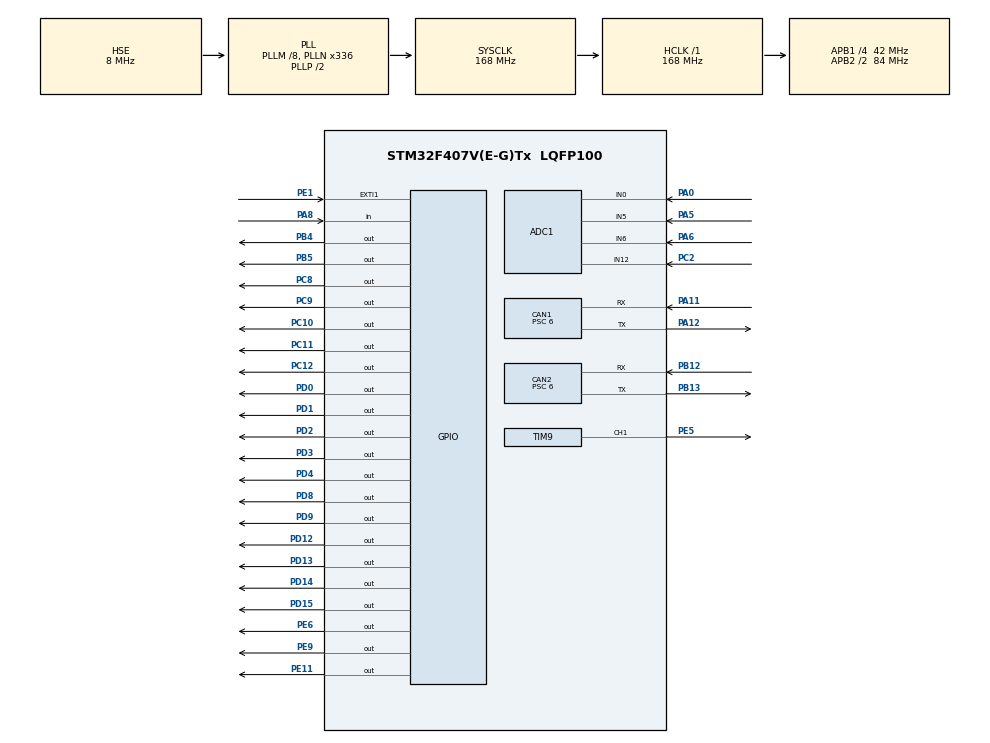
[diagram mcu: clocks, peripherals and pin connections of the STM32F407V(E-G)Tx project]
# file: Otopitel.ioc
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ADC1.Channel-0\#ChannelRegularConversion=ADC_CHANNEL_0
ADC1.Channel-1\#ChannelRegularConversion=ADC_CHANNEL_5
ADC1.Channel-2\#ChannelRegularConversion=ADC_CHANNEL_6
ADC1.Channel-3\#ChannelRegularConversion=ADC_CHANNEL_12
ADC1.ClockPrescaler=ADC_CLOCK_SYNC_PCLK_DIV6
ADC1.NbrOfConversion=4
ADC1.NbrOfConversionFlag=1
ADC1.Rank-0\#ChannelRegularConversion=1
ADC1.Rank-1\#ChannelRegularConversion=2
ADC1.Rank-2\#ChannelRegularConversion=3
ADC1.Rank-3\#ChannelRegularConversion=4
ADC1.SamplingTime-0\#ChannelRegularConversion=ADC_SAMPLETIME_56CYCLES
ADC1.SamplingTime-1\#ChannelRegularConversion=ADC_SAMPLETIME_56CYCLES
ADC1.SamplingTime-2\#ChannelRegularConversion=ADC_SAMPLETIME_56CYCLES
ADC1.SamplingTime-3\#ChannelRegularConversion=ADC_SAMPLETIME_56CYCLES
ADC1.master=1
CAN1.BS1=CAN_BS1_10TQ
CAN1.BS2=CAN_BS2_3TQ
CAN1.CalculateBaudRate=500000
CAN1.CalculateTimeBit=2000
CAN1.CalculateTimeQuantum=142.85714285714286
CAN1.Prescaler=6
CAN2.BS1=CAN_BS1_10TQ
CAN2.BS2=CAN_BS2_3TQ
CAN2.CalculateBaudRate=500000
CAN2.CalculateTimeBit=2000
CAN2.CalculateTimeQuantum=142.85714285714286
CAN2.Prescaler=6
Mcu.Family=STM32F4
Mcu.Name=STM32F407V(E-G)Tx
Mcu.Package=LQFP100
NVIC.CAN2_SCE_IRQn=true\:0\:0\:false\:false\:true\:true\:true\:true
NVIC.EXTI1_IRQn=true\:0\:0\:false\:false\:true\:true\:true\:true
NVIC.PriorityGroup=NVIC_PRIORITYGROUP_4
NVIC.TIM6_DAC_IRQn=true\:0\:0\:false\:false\:true\:true\:true\:true
PA0-WKUP.Signal=ADCx_IN0
PA11.Mode=CAN_Activate
PA11.Signal=CAN1_RX
PA12.Mode=CAN_Activate
PA12.Signal=CAN1_TX
PA13.Mode=Serial_Wire
PA13.Signal=SYS_JTMS-SWDIO
PA14.Mode=Serial_Wire
PA14.Signal=SYS_JTCK-SWCLK
PA5.Signal=ADCx_IN5
PA6.Signal=ADCx_IN6
PA8.GPIO_PuPd=GPIO_PULLUP
PA8.Signal=GPIO_Input
PB12.Mode=CAN_Activate
PB12.Signal=CAN2_RX
PB13.Mode=CAN_Activate
PB13.Signal=CAN2_TX
PB4.Signal=GPIO_Output
PB5.Signal=GPIO_Output
PC10.Signal=GPIO_Output
PC11.Signal=GPIO_Output
PC12.Signal=GPIO_Output
PC2.Signal=ADCx_IN12
PC8.Signal=GPIO_Output
PC9.Signal=GPIO_Output
PD0.Signal=GPIO_Output
PD1.Signal=GPIO_Output
PD12.Signal=GPIO_Output
PD13.Signal=GPIO_Output
PD14.Signal=GPIO_Output
PD15.Signal=GPIO_Output
PD2.Signal=GPIO_Output
PD3.Signal=GPIO_Output
PD4.Signal=GPIO_Output
PD8.Signal=GPIO_Output
PD9.Signal=GPIO_Output
PE1.Signal=GPXTI1
PE11.Signal=GPIO_Output
PE5.Signal=S_TIM9_CH1
PE6.Signal=GPIO_Output
PE9.Signal=GPIO_Output
PH0-OSC_IN.Mode=HSE-External-Oscillator
PH0-OSC_IN.Signal=RCC_OSC_IN
PH1-OSC_OUT.Mode=HSE-External-Oscillator
PH1-OSC_OUT.Signal=RCC_OSC_OUT
ProjectManager.HeapSize=0x200
ProjectManager.StackSize=0x400
ProjectManager.TargetToolchain=CMake
RCC.48MHZClocksFreq_Value=84000000
RCC.AHBFreq_Value=168000000
RCC.APB1CLKDivider=RCC_HCLK_DIV4
RCC.APB1Freq_Value=42000000
RCC.APB1TimFreq_Value=84000000
RCC.APB2CLKDivider=RCC_HCLK_DIV2
RCC.APB2Freq_Value=84000000
RCC.APB2TimFreq_Value=168000000
RCC.CortexFreq_Value=168000000
RCC.HCLKFreq_Value=168000000
RCC.HSE_VALUE=8000000
RCC.HSI_VALUE=16000000
RCC.LSE_VALUE=32768
RCC.PLLM=8
RCC.PLLN=336
RCC.PLLSourceVirtual=RCC_PLLSOURCE_HSE
RCC.SYSCLKFreq_VALUE=168000000
RCC.SYSCLKSource=RCC_SYSCLKSOURCE_PLLCLK
RCC.VCOOutputFreq_Value=336000000
SH.ADCx_IN0.0=ADC1_IN0,IN0
SH.ADCx_IN12.0=ADC1_IN12,IN12
SH.ADCx_IN5.0=ADC1_IN5,IN5
SH.ADCx_IN6.0=ADC1_IN6,IN6
SH.S_TIM9_CH1.0=TIM9_CH1,PWM Generation1 CH1
TIM6.Period=9
TIM6.Prescaler=8399
TIM9.AutoReloadPreload=TIM_AUTORELOAD_PRELOAD_ENABLE
TIM9.Channel-PWM\ Generation1\ CH1=TIM_CHANNEL_1
TIM9.Period=999
TIM9.Prescaler=167
TIM9.Pulse-PWM\ Generation1\ CH1=0
VP_TIM6_VS_ClockSourceINT.Mode=Enable_Timer
board=custom

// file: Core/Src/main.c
/* USER CODE BEGIN Header */
/**
 ******************************************************************************
 * @file           : main.c
 * @brief          : Main program body
 ******************************************************************************
 * @attention
 *
 * Copyright (c) 2026 STMicroelectronics.
 * All rights reserved.
 *
 * This software is licensed under terms that can be found in the LICENSE file
 * in the root directory of this software component.
 * If no LICENSE file comes with this software, it is provided AS-IS.
 *
 ******************************************************************************
 */
/* USER CODE END Header */
#include "main.h"

/* USER CODE BEGIN Includes */
#include "dacs_j1939.h"
#include "motor_control.h"
#include "stm32f4xx.h"
#include "stm32f4xx_hal.h"
#include "stm32f4xx_hal_gpio.h"
#include <math.h>
#include <stdbool.h>
#include <stdint.h>
#include <stdlib.h>
/* USER CODE END Includes */

/* USER CODE BEGIN PTD */
typedef struct {
  uint16_t min_mv;  /* конструкционный минимум (мВ датчика) */
  uint16_t max_mv;  /* конструкционный максимум (мВ датчика) */
  uint16_t last_mv; /* мВ на момент последнего значимого сдвига */
  uint16_t
      last_target_mv; /* прошлая цель — для сброса fault по смене команды */
  uint32_t stall_ms;  /* мс последнего значимого сдвига */
  uint8_t is_moving;
  uint8_t fault;
} Flap_t;
/* USER CODE END PTD */

/* USER CODE BEGIN PD */
/* Заслонки */
#define FLAP_DEADBAND_MV 80U        /* зона нечувствительности к цели, мВ */
#define FLAP_RAIL_MV 20U            /* обрыв/КЗ датчика (по АЦП) */
#define FLAP_MOTION_DELTA_MV 25U    /* значимый сдвиг, мВ */
#define FLAP_STALL_TIMEOUT_MS 1500U /* нет движения дольше — застревание */

/* Вентилятор */
#define FAN_PWM_THRESHOLD 50U       /* 5% от 999 */
#define FAN_ERROR_TIMEOUT_MS 15000U /* 15 с */
/* USER CODE END PD */

ADC_HandleTypeDef hadc1;

CAN_HandleTypeDef hcan1;
CAN_HandleTypeDef hcan2;

TIM_HandleTypeDef htim6;
TIM_HandleTypeDef htim9;

/* USER CODE BEGIN PV */
uint16_t sensor_zasl[4];
/* sensor_zasl[0] - заслонка рециркуляции (Rank 1, PA0)
 * sensor_zasl[1] - заслонка грудь        (Rank 2, PA5)
 * sensor_zasl[2] - заслонка стекло       (Rank 3, PA6)
 * sensor_zasl[3] - заслонка ноги         (Rank 4, PC2) */

volatile uint32_t g_ms_ticks = 0; /* 1 мс от TIM6 */
volatile uint32_t tacho_pulses = 0;
volatile uint16_t fun_speed = 0;
uint32_t fan_error_timer = 0;
uint8_t fan_is_fault = 0;

uint16_t fun_pwm = 0; /* текущий ЗАПРОС ШИМ (0…999), не выход */
uint32_t last_tacho_time = 0;
volatile uint8_t can_bus_off_flag = 0;

/* Конструкционные границы — пересчитаны из проверенных АЦП старого
 * рабочего кода (raw * 3300/4095 * 5000/2960):
 *   recirc: 1240..1940 АЦП  -> 1688..2641 мВ
 *   chest :  935..2055 АЦП  -> 1273..2797 мВ
 *   legs  :  935..2055 АЦП  -> 1273..2797 мВ
 *   window:  935..1980 АЦП  -> 1273..2695 мВ
 * Если на конкретном железе пределы отличаются — поправьте эти числа. */
Flap_t flap_recirc = {.min_mv = 1120, .max_mv = 2700};
Flap_t flap_chest = {.min_mv = 1750, .max_mv = 3300};
Flap_t flap_window = {.min_mv = 1750, .max_mv = 3300};
Flap_t flap_legs = {.min_mv = 1750, .max_mv = 3300};
/* USER CODE END PV */

void SystemClock_Config(void);
static void MX_GPIO_Init(void);
static void MX_CAN1_Init(void);
static void MX_CAN2_Init(void);
static void MX_ADC1_Init(void);
static void MX_TIM9_Init(void);
static void MX_TIM6_Init(void);
/* USER CODE BEGIN PFP */
static inline uint32_t ms_now(void) { return g_ms_ticks; }
/* USER CODE END PFP */

/* USER CODE BEGIN 0 */
void Read_All_4_Sensors(void) {
  if (HAL_ADC_Start(&hadc1) == HAL_OK) {
    for (uint8_t i = 0; i < 4; i++) {
      if (HAL_ADC_PollForConversion(&hadc1, 10) == HAL_OK) {
        uint16_t raw_val = (uint16_t)HAL_ADC_GetValue(&hadc1);
        if (sensor_zasl[i] == 0)
          sensor_zasl[i] = raw_val;
        else
          sensor_zasl[i] = (sensor_zasl[i] * 3 + raw_val) / 4;
      }
    }
    HAL_ADC_Stop(&hadc1);
  }
}

/* Пересчёт АЦП -> мВ датчика (0…5000). */
static inline uint32_t adc_to_sensor_mv(uint16_t raw_adc) {
  uint32_t mv_adc = (raw_adc * 3300U) / 4095U;
  return (mv_adc * 5000U) / 2960U;
}

/* Логика заслонки:
 *  - цель = min_mv или max_mv;
 *  - детекция застревания = нет значимого сдвига дольше FLAP_STALL_TIMEOUT_MS;
 *  - без обучения границ, без стриков;
 *  - fault сбрасывается при смене целевой позиции. */
void Flap_Update(Flap_t *flap, uint16_t raw_adc, uint8_t req_mode,
                 void (*motor_open)(void), void (*motor_close)(void),
                 void (*motor_stop)(void), void (*set_dacs_status)(uint8_t)) {
  uint32_t now = ms_now();

  uint32_t mv_adc = (raw_adc * 3300U) / 4095U;
  uint32_t mv_sensor = adc_to_sensor_mv(raw_adc);

  /* 1. Цель по команде */
  uint16_t target_mv;
  if (req_mode == DACS_ST_ON)
    target_mv = flap->min_mv;
  else if (req_mode == DACS_ST_OFF)
    target_mv = flap->max_mv;
  else {
    /* Не ON и не OFF — стоим, статус пробрасываем как есть */
    motor_stop();
    set_dacs_status(req_mode);
    flap->is_moving = 0;
    flap->fault = 0;
    flap->last_target_mv = 0;
    return;
  }

  /* 2. Смена целевой позиции — сбрасываем fault и пробуем снова */
  if (abs((int)target_mv - (int)flap->last_target_mv) > (int)FLAP_DEADBAND_MV) {
    flap->fault = 0;
    flap->is_moving = 0;
  }
  flap->last_target_mv = target_mv;

  /* 3. Обрыв/КЗ датчика */
  if (mv_adc < FLAP_RAIL_MV || mv_adc > (2960U - FLAP_RAIL_MV)) {
    motor_stop();
    flap->is_moving = 0;
    flap->fault = 1;
    set_dacs_status(DACS_ST_ERROR);
    return;
  }

  /* 4. Уже в fault — стоим, пока не придёт другая цель */
  if (flap->fault) {
    motor_stop();
    flap->is_moving = 0;
    set_dacs_status(DACS_ST_ERROR);
    return;
  }

  /* 5. Доехали до цели */
  int diff = (int)mv_sensor - (int)target_mv;
  if (abs(diff) <= (int)FLAP_DEADBAND_MV) {
    motor_stop();
    flap->is_moving = 0;
    set_dacs_status(req_mode);
    return;
  }

  /* 6. Старт движения */
  if (!flap->is_moving) {
    flap->is_moving = 1;
    flap->last_mv = (uint16_t)mv_sensor;
    flap->stall_ms = now;
  }

  /* 7. Крутим в нужную сторону */
  if (mv_sensor < target_mv)
    motor_open();
  else
    motor_close();

  /* 8. Детектор застревания: если нет значимого сдвига
        дольше FLAP_STALL_TIMEOUT_MS — стоп + fault. */
  int delta = abs((int)mv_sensor - (int)flap->last_mv);
  if (delta >= (int)FLAP_MOTION_DELTA_MV) {
    flap->last_mv = (uint16_t)mv_sensor;
    flap->stall_ms = now;
  } else if ((now - flap->stall_ms) > FLAP_STALL_TIMEOUT_MS) {
    motor_stop();
    flap->is_moving = 0;
    flap->fault = 1;
    set_dacs_status(DACS_ST_ERROR);
    return;
  }

  set_dacs_status(DACS_ST_NA);
}

void Flap_Update_Percent(Flap_t *flap, uint16_t raw_adc, uint8_t percent,
                         void (*motor_open)(void), void (*motor_close)(void),
                         void (*motor_stop)(void),
                         void (*set_dacs_status)(uint8_t)) {
  if (percent > 100U)
    percent = 100U;
  uint32_t now = ms_now();

  uint32_t mv_adc = (raw_adc * 3300U) / 4095U;
  uint32_t mv_sensor = adc_to_sensor_mv(raw_adc);

  uint16_t target_mv =
      (uint16_t)((uint32_t)flap->min_mv +
                 ((uint32_t)(flap->max_mv - flap->min_mv) * percent) / 100U);

  /* Смена цели — сбрасываем fault */
  if (abs((int)target_mv - (int)flap->last_target_mv) > (int)FLAP_DEADBAND_MV) {
    flap->fault = 0;
    flap->is_moving = 0;
  }
  flap->last_target_mv = target_mv;

  /* Обрыв/КЗ датчика */
  if (mv_adc < FLAP_RAIL_MV || mv_adc > (2960U - FLAP_RAIL_MV)) {
    motor_stop();
    flap->is_moving = 0;
    flap->fault = 1;
    set_dacs_status(DACS_ST_ERROR);
    return;
  }

  if (flap->fault) {
    motor_stop();
    flap->is_moving = 0;
    set_dacs_status(DACS_ST_ERROR);
    return;
  }

  int diff = (int)mv_sensor - (int)target_mv;
  if (abs(diff) <= (int)FLAP_DEADBAND_MV) {
    motor_stop();
    flap->is_moving = 0;
    set_dacs_status(DACS_ST_ON);
    return;
  }

  if (!flap->is_moving) {
    flap->is_moving = 1;
    flap->last_mv = (uint16_t)mv_sensor;
    flap->stall_ms = now;
  }

  if (mv_sensor < target_mv)
    motor_open();
  else
    motor_close();

  int delta = abs((int)mv_sensor - (int)flap->last_mv);
  if (delta >= (int)FLAP_MOTION_DELTA_MV) {
    flap->last_mv = (uint16_t)mv_sensor;
    flap->stall_ms = now;
  } else if ((now - flap->stall_ms) > FLAP_STALL_TIMEOUT_MS) {
    motor_stop();
    flap->is_moving = 0;
    flap->fault = 1;
    set_dacs_status(DACS_ST_ERROR);
    return;
  }

  set_dacs_status(DACS_ST_NA);
}

void FanSpeed_Read(void) {
  uint32_t now = ms_now();
  if ((now - last_tacho_time) >= 1000U) {
    last_tacho_time = now;
    __disable_irq();
    uint32_t current_pulses = tacho_pulses;
    tacho_pulses = 0;
    __enable_irq();
    fun_speed = (uint16_t)(current_pulses * 15U); /* 4 имп/об */
  }
}

/* Логика вентилятора:
 *  - если подан ШИМ (>5%) и тахо = 0 дольше 15 с → fault;
 *  - в fault ШИМ уходит в 0, в CAN шлём 0xFE;
 *  - fault держится, пока CCU не снизит запрос ШИМ ≤ 5% (mode=OFF или
 * fanSpeed=0).
 *  - fun_pwm — это ЗАПРОС, при срабатывании fault его НЕ обнуляем. */
void Fan_Diagnostics(void) {
  uint32_t now = ms_now();

  if (fan_is_fault) {
    /* Снимаем ошибку только когда запрос ШИМ упал до нуля (CCU выключил) */
    if (fun_pwm <= FAN_PWM_THRESHOLD) {
      fan_is_fault = 0;
      fan_error_timer = now;
    }
    return;
  }

  if (fun_pwm > FAN_PWM_THRESHOLD) {
    if (fun_speed == 0) {
      if ((now - fan_error_timer) > FAN_ERROR_TIMEOUT_MS) {
        fan_is_fault = 1;
        __HAL_TIM_SET_COMPARE(&htim9, TIM_CHANNEL_1, 0); /* аппаратно в 0 */
        DACS_SetFanSpeedRaw(0xFE);
        /* fun_pwm НЕ трогаем — это запрос */
      }
    } else {
      fan_error_timer = now;
    }
  } else {
    fan_error_timer = now;
  }
}

void Fan_Control(uint8_t mode, uint8_t funSpeed) {
  if (mode == DACS_MODE_VENTILATION || mode == DACS_MODE_HEATING ||
      mode == DACS_MODE_PTC_HEATING || mode == DACS_MODE_PTC) {
    DACS_SetAirflowMode(mode);

    if (mode == DACS_MODE_PTC_HEATING) {
      if (funSpeed < 75) {
        funSpeed = 75;
      }
    }

    if (fan_is_fault) {
      __HAL_TIM_SET_COMPARE(&htim9, TIM_CHANNEL_1, 0);
      DACS_SetFanSpeedRaw(0xFE);
      return;
    }

    if (funSpeed != 0xFF && funSpeed != 0xFE) {

      fun_pwm = (uint16_t)(funSpeed * 4U);
      if (fun_pwm > 999U)
        fun_pwm = 999U;
      __HAL_TIM_SET_COMPARE(&htim9, TIM_CHANNEL_1, fun_pwm);
      /* По протоколу J1939 (см. PDF, SPN 2.1.1) поле FanSpeed должно
       * передаваться как raw (0..250 при масштабе 0.4%/bit). Но CCU в этой
       * системе интерпретирует приходящий байт КАК ПРОЦЕНТ напрямую (0..100).
       */
      DACS_SetFanSpeedRaw(funSpeed * 0.4f);
    }
  } else {
    DACS_SetAirflowMode(DACS_MODE_OFF);
    DACS_SetFanSpeedRaw(0);
    __HAL_TIM_SET_COMPARE(&htim9, TIM_CHANNEL_1, 0);
    fun_pwm = 0; /* вот здесь fault сбросится в следующей итерации */
  }
}

void PWM_Init(void) {
  HAL_GPIO_WritePin(GPIOE, GPIO_PIN_6, GPIO_PIN_RESET);
  HAL_TIM_PWM_Start(&htim9, TIM_CHANNEL_1);
  __HAL_TIM_SET_COMPARE(&htim9, TIM_CHANNEL_1, 0);
}

void Power_5V(bool state) {
  HAL_GPIO_WritePin(GPIOB, GPIO_PIN_4, state ? GPIO_PIN_SET : GPIO_PIN_RESET);
}

void Power_12V(bool state) {
  HAL_GPIO_WritePin(GPIOB, GPIO_PIN_5, state ? GPIO_PIN_SET : GPIO_PIN_RESET);
}

void Contactor_ON(void) {
  HAL_GPIO_WritePin(GPIOE, GPIO_PIN_11, GPIO_PIN_RESET);
  HAL_GPIO_WritePin(GPIOE, GPIO_PIN_9, GPIO_PIN_SET);
}

void Contactor_OFF(void) {
  HAL_GPIO_WritePin(GPIOE, GPIO_PIN_11, GPIO_PIN_RESET);
  HAL_GPIO_WritePin(GPIOE, GPIO_PIN_9, GPIO_PIN_RESET);
}

/* Обёртки под Flap_Update. Индексы: 0=recirc, 1=chest, 2=window, 3=legs. */
void Recir_control(uint8_t mode) {
  Flap_Update(&flap_recirc, sensor_zasl[0], mode, Motor_open_recir,
              Motor_closed_recir, Motor_stop_recir, DACS_SetRecirculation);
}

void Chest_control(uint8_t mode) {
  Flap_Update(&flap_chest, sensor_zasl[1], mode, Motor_open_chest,
              Motor_closed_chest, Motor_stop_chest, DACS_SetChest);
}

void Window_control(uint8_t mode) {
  Flap_Update(&flap_window, sensor_zasl[2], mode, Motor_open_window,
              Motor_closed_window, Motor_stop_window, DACS_SetWindshield);
}

void Window_percent_control(uint8_t percent) {
  Flap_Update_Percent(&flap_window, sensor_zasl[2], percent, Motor_open_window,
                      Motor_closed_window, Motor_stop_window,
                      DACS_SetWindshield);
}

void Legs_control(uint8_t mode) {
  Flap_Update(&flap_legs, sensor_zasl[3], mode, Motor_open_legs,
              Motor_closed_legs, Motor_stop_legs, DACS_SetLegs);
}
/* USER CODE END 0 */

int main(void) {
  SCB->VTOR = 0x08008000U;
  HAL_Init();
  SystemClock_Config();

  MX_GPIO_Init();
  MX_CAN1_Init();
  MX_CAN2_Init();
  MX_ADC1_Init();
  MX_TIM9_Init();
  MX_TIM6_Init();

  /* USER CODE BEGIN 2 */
  if (DACS_Init(&hcan2) != HAL_OK) {
    Error_Handler();
  }

  PWM_Init();
  Power_5V(true);
  Power_12V(true);

  /* Запуск TIM6 — 1 мс тик */
  if (HAL_TIM_Base_Start_IT(&htim6) != HAL_OK) {
    Error_Handler();
  }

  last_tacho_time = ms_now();
  fan_error_timer = ms_now();
  /* USER CODE END 2 */

  /* Infinite loop */
  /* USER CODE BEGIN WHILE */
  while (1) {
    /* 1. АЦП */
    Read_All_4_Sensors();

    /* 2. Восстановление после CAN Bus-Off */
    if (can_bus_off_flag) {
      can_bus_off_flag = 0;
      if (DACS_ReinitAfterBusOff() != HAL_OK) {
        can_bus_off_flag = 1; /* повторим на следующей итерации */
      }
    }

    /* 3. CAN J1939: RX-опрос + периодический TX */
    DACS_Task();

    static uint32_t s_last_can_mon = 0;
    if ((ms_now() - s_last_can_mon) >= 100U) {
      s_last_can_mon = ms_now();
      uint8_t tec = 0, rec = 0;
      if (DACS_GetErrorCounters(&tec, &rec)) {
        /* TEC/REC можно логировать или использовать для доп. диагностики.
           Выход в bus-off всё равно поймается через can_bus_off_flag. */
        (void)tec;
        (void)rec;
      }
    }

    /* 4. Обработка последнего запроса от CCU */
    const DACS_Request *req = DACS_GetLastRequest();
    if (req->received) {

      if (req->airflowMode == DACS_MODE_OFF ||
          req->airflowMode == DACS_MODE_ERROR) {
        /* Всё выключено — закрываем заслонки */
        Chest_control(DACS_ST_OFF);
        Window_control(DACS_ST_OFF);
        Legs_control(DACS_ST_OFF);

      } else if (req->airflowMode == DACS_MODE_HEATING ||
                 req->airflowMode == DACS_MODE_PTC_HEATING ||
                 req->airflowMode == DACS_MODE_VENTILATION || DACS_MODE_PTC) {

        if (req->chest == DACS_ST_OFF && req->legs == DACS_ST_OFF &&
            req->windshield == DACS_ST_ON) {
          Chest_control(DACS_ST_OFF);
          Legs_control(DACS_ST_OFF);
          Window_control(DACS_ST_ON);

        } else if (req->chest == DACS_ST_OFF && req->legs == DACS_ST_OFF &&
                   req->windshield == DACS_ST_OFF) {
          Chest_control(DACS_ST_OFF);
          Legs_control(DACS_ST_OFF);
          Window_control(DACS_ST_OFF);

        } else if (req->chest == DACS_ST_ON && req->legs == DACS_ST_OFF) {
          Chest_control(DACS_ST_ON);
          Legs_control(DACS_ST_OFF);
          Window_control(DACS_ST_OFF);

        } else if (req->chest == DACS_ST_OFF && req->legs == DACS_ST_ON) {
          Chest_control(DACS_ST_OFF);
          Legs_control(DACS_ST_ON);
          Window_percent_control(50);

        } else {
          Chest_control(DACS_ST_ON);
          Legs_control(DACS_ST_ON);
          Window_percent_control(50);
        }
      }

      Recir_control(req->recirc);

      /* Вентилятор */

      Fan_Control(req->airflowMode, req->fanSpeedRaw);

      /* Контактор PTC — включаем только при вращении вентилятора */
      if (req->airflowMode == DACS_MODE_PTC_HEATING ||
          req->airflowMode == DACS_MODE_PTC) {
        if (fun_speed > 0)
          Contactor_ON();
        else
          Contactor_OFF();
      } else {
        Contactor_OFF();
      }
    }

    /* 5. Диагностика вентилятора — по ms_now() */
    FanSpeed_Read();
    Fan_Diagnostics();
    /* USER CODE END WHILE */

  }
}

void SystemClock_Config(void) {
  RCC_OscInitTypeDef RCC_OscInitStruct = {0};
  RCC_ClkInitTypeDef RCC_ClkInitStruct = {0};

  __HAL_RCC_PWR_CLK_ENABLE();
  __HAL_PWR_VOLTAGESCALING_CONFIG(PWR_REGULATOR_VOLTAGE_SCALE1);

  RCC_OscInitStruct.OscillatorType = RCC_OSCILLATORTYPE_HSE;
  RCC_OscInitStruct.HSEState = RCC_HSE_ON;
  RCC_OscInitStruct.PLL.PLLState = RCC_PLL_ON;
  RCC_OscInitStruct.PLL.PLLSource = RCC_PLLSOURCE_HSE;
  RCC_OscInitStruct.PLL.PLLM = 8;
  RCC_OscInitStruct.PLL.PLLN = 336;
  RCC_OscInitStruct.PLL.PLLP = RCC_PLLP_DIV2;
  RCC_OscInitStruct.PLL.PLLQ = 4;
  if (HAL_RCC_OscConfig(&RCC_OscInitStruct) != HAL_OK) {
    Error_Handler();
  }

  RCC_ClkInitStruct.ClockType = RCC_CLOCKTYPE_HCLK | RCC_CLOCKTYPE_SYSCLK |
                                RCC_CLOCKTYPE_PCLK1 | RCC_CLOCKTYPE_PCLK2;
  RCC_ClkInitStruct.SYSCLKSource = RCC_SYSCLKSOURCE_PLLCLK;
  RCC_ClkInitStruct.AHBCLKDivider = RCC_SYSCLK_DIV1;
  RCC_ClkInitStruct.APB1CLKDivider = RCC_HCLK_DIV4;
  RCC_ClkInitStruct.APB2CLKDivider = RCC_HCLK_DIV2;

  if (HAL_RCC_ClockConfig(&RCC_ClkInitStruct, FLASH_LATENCY_5) != HAL_OK) {
    Error_Handler();
  }
}

static void MX_ADC1_Init(void) {
  ADC_ChannelConfTypeDef sConfig = {0};

  hadc1.Instance = ADC1;
  hadc1.Init.ClockPrescaler = ADC_CLOCK_SYNC_PCLK_DIV6;
  hadc1.Init.Resolution = ADC_RESOLUTION_12B;
  hadc1.Init.ScanConvMode = ENABLE;
  hadc1.Init.ContinuousConvMode = DISABLE;
  hadc1.Init.DiscontinuousConvMode = DISABLE;
  hadc1.Init.ExternalTrigConvEdge = ADC_EXTERNALTRIGCONVEDGE_NONE;
  hadc1.Init.ExternalTrigConv = ADC_SOFTWARE_START;
  hadc1.Init.DataAlign = ADC_DATAALIGN_RIGHT;
  hadc1.Init.NbrOfConversion = 4;
  hadc1.Init.DMAContinuousRequests = DISABLE;
  hadc1.Init.EOCSelection = ADC_EOC_SINGLE_CONV;
  if (HAL_ADC_Init(&hadc1) != HAL_OK) {
    Error_Handler();
  }

  sConfig.Channel = ADC_CHANNEL_0;
  sConfig.Rank = 1;
  sConfig.SamplingTime = ADC_SAMPLETIME_56CYCLES;
  if (HAL_ADC_ConfigChannel(&hadc1, &sConfig) != HAL_OK) {
    Error_Handler();
  }

  sConfig.Channel = ADC_CHANNEL_5;
  sConfig.Rank = 2;
  if (HAL_ADC_ConfigChannel(&hadc1, &sConfig) != HAL_OK) {
    Error_Handler();
  }

  sConfig.Channel = ADC_CHANNEL_6;
  sConfig.Rank = 3;
  if (HAL_ADC_ConfigChannel(&hadc1, &sConfig) != HAL_OK) {
    Error_Handler();
  }

  sConfig.Channel = ADC_CHANNEL_12;
  sConfig.Rank = 4;
  if (HAL_ADC_ConfigChannel(&hadc1, &sConfig) != HAL_OK) {
    Error_Handler();
  }
}

static void MX_CAN1_Init(void) {
  /* Безопасная инициализация: деинициализация переводит пины в аналоговый
     режим (HAL_CAN_MspDeInit), разрывая связь с трансивером на время Init. */
  if (hcan1.State != HAL_CAN_STATE_RESET) {
    (void)HAL_CAN_DeInit(&hcan1);
  }
  HAL_Delay(1);

  hcan1.Instance = CAN1;
  hcan1.Init.Prescaler = 6;
  hcan1.Init.Mode = CAN_MODE_NORMAL;
  hcan1.Init.SyncJumpWidth = CAN_SJW_1TQ;
  hcan1.Init.TimeSeg1 = CAN_BS1_11TQ; /* 500 kbps при PCLK1=42 МГц */
  hcan1.Init.TimeSeg2 = CAN_BS2_2TQ;
  hcan1.Init.TimeTriggeredMode = DISABLE;
  hcan1.Init.AutoBusOff = DISABLE; /* восстановление — программное */
  hcan1.Init.AutoWakeUp = DISABLE;
  hcan1.Init.AutoRetransmission = DISABLE;
  hcan1.Init.ReceiveFifoLocked = DISABLE;
  hcan1.Init.TransmitFifoPriority = DISABLE;
  if (HAL_CAN_Init(&hcan1) != HAL_OK) {
    Error_Handler();
  }
}

static void MX_CAN2_Init(void) {
  if (hcan2.State != HAL_CAN_STATE_RESET) {
    (void)HAL_CAN_DeInit(&hcan2);
  }
  HAL_Delay(1);

  hcan2.Instance = CAN2;
  hcan2.Init.Prescaler = 6;
  hcan2.Init.Mode = CAN_MODE_NORMAL;
  hcan2.Init.SyncJumpWidth = CAN_SJW_1TQ;
  hcan2.Init.TimeSeg1 = CAN_BS1_11TQ;
  hcan2.Init.TimeSeg2 = CAN_BS2_2TQ;
  hcan2.Init.TimeTriggeredMode = DISABLE;
  hcan2.Init.AutoBusOff = DISABLE;
  hcan2.Init.AutoWakeUp = DISABLE;
  hcan2.Init.AutoRetransmission = DISABLE;
  hcan2.Init.ReceiveFifoLocked = DISABLE;
  hcan2.Init.TransmitFifoPriority = DISABLE;
  if (HAL_CAN_Init(&hcan2) != HAL_OK) {
    Error_Handler();
  }
}

static void MX_TIM6_Init(void) {
  TIM_MasterConfigTypeDef sMasterConfig = {0};

  htim6.Instance = TIM6;
  htim6.Init.Prescaler = 8399;
  htim6.Init.CounterMode = TIM_COUNTERMODE_UP;
  htim6.Init.Period = 9;
  htim6.Init.AutoReloadPreload = TIM_AUTORELOAD_PRELOAD_DISABLE;
  if (HAL_TIM_Base_Init(&htim6) != HAL_OK) {
    Error_Handler();
  }
  sMasterConfig.MasterOutputTrigger = TIM_TRGO_RESET;
  sMasterConfig.MasterSlaveMode = TIM_MASTERSLAVEMODE_DISABLE;
  if (HAL_TIMEx_MasterConfigSynchronization(&htim6, &sMasterConfig) != HAL_OK) {
    Error_Handler();
  }
}

static void MX_TIM9_Init(void) {
  TIM_OC_InitTypeDef sConfigOC = {0};

  htim9.Instance = TIM9;
  htim9.Init.Prescaler = 167;
  htim9.Init.CounterMode = TIM_COUNTERMODE_UP;
  htim9.Init.Period = 999;
  htim9.Init.ClockDivision = TIM_CLOCKDIVISION_DIV1;
  htim9.Init.AutoReloadPreload = TIM_AUTORELOAD_PRELOAD_ENABLE;
  if (HAL_TIM_PWM_Init(&htim9) != HAL_OK) {
    Error_Handler();
  }
  sConfigOC.OCMode = TIM_OCMODE_PWM1;
  sConfigOC.Pulse = 0;
  sConfigOC.OCPolarity = TIM_OCPOLARITY_HIGH;
  sConfigOC.OCFastMode = TIM_OCFAST_DISABLE;
  if (HAL_TIM_PWM_ConfigChannel(&htim9, &sConfigOC, TIM_CHANNEL_1) != HAL_OK) {
    Error_Handler();
  }
  HAL_TIM_MspPostInit(&htim9);
}

static void MX_GPIO_Init(void) {
  GPIO_InitTypeDef GPIO_InitStruct = {0};

  __HAL_RCC_GPIOE_CLK_ENABLE();
  __HAL_RCC_GPIOH_CLK_ENABLE();
  __HAL_RCC_GPIOC_CLK_ENABLE();
  __HAL_RCC_GPIOA_CLK_ENABLE();
  __HAL_RCC_GPIOB_CLK_ENABLE();
  __HAL_RCC_GPIOD_CLK_ENABLE();

  HAL_GPIO_WritePin(GPIOE, GPIO_PIN_6 | GPIO_PIN_9 | GPIO_PIN_11,
                    GPIO_PIN_RESET);

  HAL_GPIO_WritePin(GPIOD,
                    GPIO_PIN_8 | GPIO_PIN_9 | GPIO_PIN_12 | GPIO_PIN_13 |
                        GPIO_PIN_14 | GPIO_PIN_15 | GPIO_PIN_0 | GPIO_PIN_1 |
                        GPIO_PIN_2 | GPIO_PIN_3 | GPIO_PIN_4,
                    GPIO_PIN_RESET);

  HAL_GPIO_WritePin(
      GPIOC, GPIO_PIN_8 | GPIO_PIN_9 | GPIO_PIN_10 | GPIO_PIN_11 | GPIO_PIN_12,
      GPIO_PIN_RESET);

  HAL_GPIO_WritePin(GPIOB, GPIO_PIN_4 | GPIO_PIN_5, GPIO_PIN_RESET);

  GPIO_InitStruct.Pin = GPIO_PIN_6 | GPIO_PIN_9 | GPIO_PIN_11;
  GPIO_InitStruct.Mode = GPIO_MODE_OUTPUT_PP;
  GPIO_InitStruct.Pull = GPIO_NOPULL;
  GPIO_InitStruct.Speed = GPIO_SPEED_FREQ_LOW;
  HAL_GPIO_Init(GPIOE, &GPIO_InitStruct);

  GPIO_InitStruct.Pin = GPIO_PIN_8 | GPIO_PIN_9 | GPIO_PIN_12 | GPIO_PIN_13 |
                        GPIO_PIN_14 | GPIO_PIN_15 | GPIO_PIN_0 | GPIO_PIN_1 |
                        GPIO_PIN_2 | GPIO_PIN_3 | GPIO_PIN_4;
  GPIO_InitStruct.Mode = GPIO_MODE_OUTPUT_PP;
  GPIO_InitStruct.Pull = GPIO_NOPULL;
  GPIO_InitStruct.Speed = GPIO_SPEED_FREQ_LOW;
  HAL_GPIO_Init(GPIOD, &GPIO_InitStruct);

  GPIO_InitStruct.Pin =
      GPIO_PIN_8 | GPIO_PIN_9 | GPIO_PIN_10 | GPIO_PIN_11 | GPIO_PIN_12;
  GPIO_InitStruct.Mode = GPIO_MODE_OUTPUT_PP;
  GPIO_InitStruct.Pull = GPIO_NOPULL;
  GPIO_InitStruct.Speed = GPIO_SPEED_FREQ_LOW;
  HAL_GPIO_Init(GPIOC, &GPIO_InitStruct);

  GPIO_InitStruct.Pin = GPIO_PIN_8;
  GPIO_InitStruct.Mode = GPIO_MODE_INPUT;
  GPIO_InitStruct.Pull = GPIO_PULLUP;
  HAL_GPIO_Init(GPIOA, &GPIO_InitStruct);

  GPIO_InitStruct.Pin = GPIO_PIN_4 | GPIO_PIN_5;
  GPIO_InitStruct.Mode = GPIO_MODE_OUTPUT_PP;
  GPIO_InitStruct.Pull = GPIO_NOPULL;
  GPIO_InitStruct.Speed = GPIO_SPEED_FREQ_LOW;
  HAL_GPIO_Init(GPIOB, &GPIO_InitStruct);

  GPIO_InitStruct.Pin = GPIO_PIN_1;
  GPIO_InitStruct.Mode = GPIO_MODE_IT_RISING;
  GPIO_InitStruct.Pull = GPIO_PULLUP;
  HAL_GPIO_Init(GPIOE, &GPIO_InitStruct);

  HAL_NVIC_SetPriority(EXTI1_IRQn, 5, 0);
  HAL_NVIC_EnableIRQ(EXTI1_IRQn);

}

/* USER CODE BEGIN 4 */
/* 1 мс от TIM6 */
void HAL_TIM_PeriodElapsedCallback(TIM_HandleTypeDef *htim) {
  if (htim->Instance == TIM6) {
    g_ms_ticks++;
  }
}

/* Таходатчик вентилятора */
void HAL_GPIO_EXTI_Callback(uint16_t GPIO_Pin) {
  if (GPIO_Pin == GPIO_PIN_1) {
    tacho_pulses++;
  }
}

/* CAN Bus-Off */
void HAL_CAN_ErrorCallback(CAN_HandleTypeDef *hcan) {
  if (hcan->Instance == CAN2) {
    if (HAL_CAN_GetError(hcan) & HAL_CAN_ERROR_BOF) {
      can_bus_off_flag = 1;
    }
    /* Warning / Error Passive — можно логировать, действий не требуется */
  }
}
/* USER CODE END 4 */

void Error_Handler(void) {
  __disable_irq();
  while (1) {
  }
}
